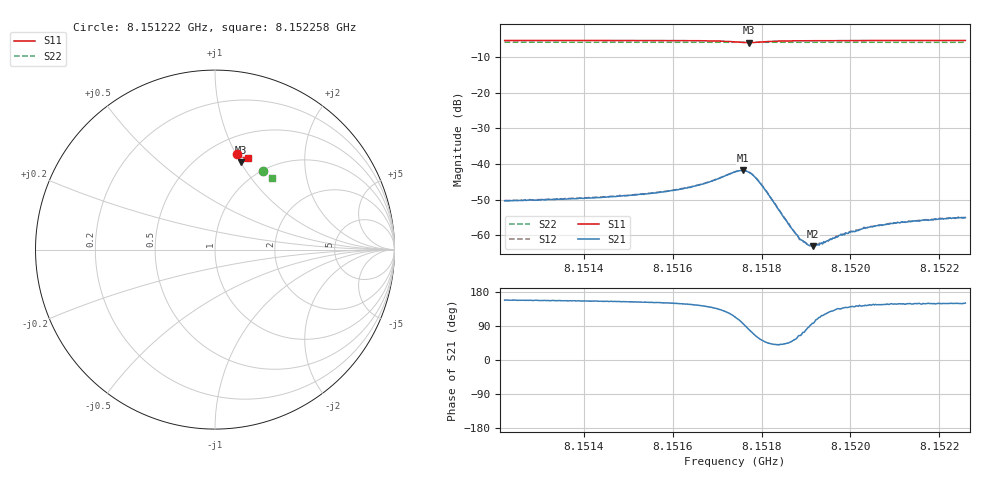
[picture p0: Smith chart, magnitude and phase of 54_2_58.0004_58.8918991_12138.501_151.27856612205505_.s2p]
#  HZ  S  RI  R  50.00
! Rohde & Schwarz Vector Network Analyzer
! Rohde-Schwarz,ZNB20-2Port,1311601062101988,3.16
! Created: UTC 3/21/2024, 12:52:42 AM
! freq[Hz]  re:S11  im:S11  re:S21  im:S21  re:S12  im:S12  re:S22  im:S22
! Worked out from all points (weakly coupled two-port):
!   401 points, 8.151222 GHz to 8.152258 GHz, reference 50 ohm
!   highest |S21| = -41.81 dB at 8.151758 GHz (marker M1); lowest = -63.0 dB at 8.151916 GHz (marker M2)
!   lowest |S11| = -5.9 dB at 8.151771 GHz (marker M3), VSWR 3.06, Z = 38.4 + j50.3 ohm
!   |S11| at or under -10 dB: nowhere
!   |S22| runs from -5.8 to -5.8 dB; largest |S21 - S12| = 0.00016
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8.1512224e9  0.1209 0.5299  -0.00282 0.00115  -0.00285 0.00119  0.2655 0.4403
8.1513959e9  0.134 0.5267  -0.00301 0.00137  -0.00304 0.00143  0.2749 0.4341
8.1514917e9  0.1417 0.5247  -0.00322 0.00158  -0.00321 0.00164  0.2801 0.4307
8.1515694e9  0.1487 0.5219  -0.00351 0.00189  -0.00352 0.002  0.2842 0.4278
8.1516627e9  0.1593 0.5157  -0.00414 0.00306  -0.00413 0.00314  0.2894 0.4241
8.1517403e9  0.1638 0.4941  -0.00315 0.0071  -0.00307 0.00717  0.293 0.4203
8.1517585e9  0.155 0.4866  -0.00084 0.00808  -0.000747 0.00815  0.2935 0.4195
8.1517714e9  0.1453 0.4867  0.00124 0.00758  0.00132 0.00761  0.2938 0.4194
8.1517844e9  0.1376 0.4922  0.00269 0.00609  0.00275 0.00611  0.2941 0.4191
8.1517999e9  0.1346 0.5013  0.00307 0.00404  0.00319 0.00406  0.2952 0.419
8.1518647e9  0.1465 0.5172  0.000904 0.000986  0.000909 0.000946  0.299 0.4168
8.1518854e9  0.1501 0.5183  0.000381 0.000802  0.000417 0.000765  0.3 0.4162
8.1519035e9  0.1528 0.5185  7.04e-05 0.000731  7.42e-05 0.000744  0.3012 0.4155
8.1519139e9  0.1542 0.5186  -8.34e-05 0.000721  -5.5e-05 0.000717  0.3017 0.415
8.1519165e9  0.1546 0.5186  -8.42e-05 0.000704  -0.000113 0.000693  0.3018 0.4149
8.1519242e9  0.1556 0.5187  -0.000215 0.000698  -0.000218 0.000691  0.3022 0.4147
8.1519449e9  0.1581 0.5187  -0.000434 0.000693  -0.000448 0.000702  0.3033 0.4138
8.1519967e9  0.1634 0.518  -0.000832 0.000709  -0.000829 0.000726  0.3061 0.4118
8.1520408e9  0.1674 0.5171  -0.00105 0.000752  -0.00107 0.000754  0.3083 0.4101
8.1520874e9  0.1714 0.5162  -0.0012 0.000787  -0.00121 0.000815  0.3106 0.4082
8.1521987e9  0.18 0.5139  -0.00146 0.000864  -0.00146 0.000908  0.3164 0.4038
8.1522583e9  0.1843 0.5125  -0.00154 0.000876  -0.00153 0.0009  0.3193 0.4013
